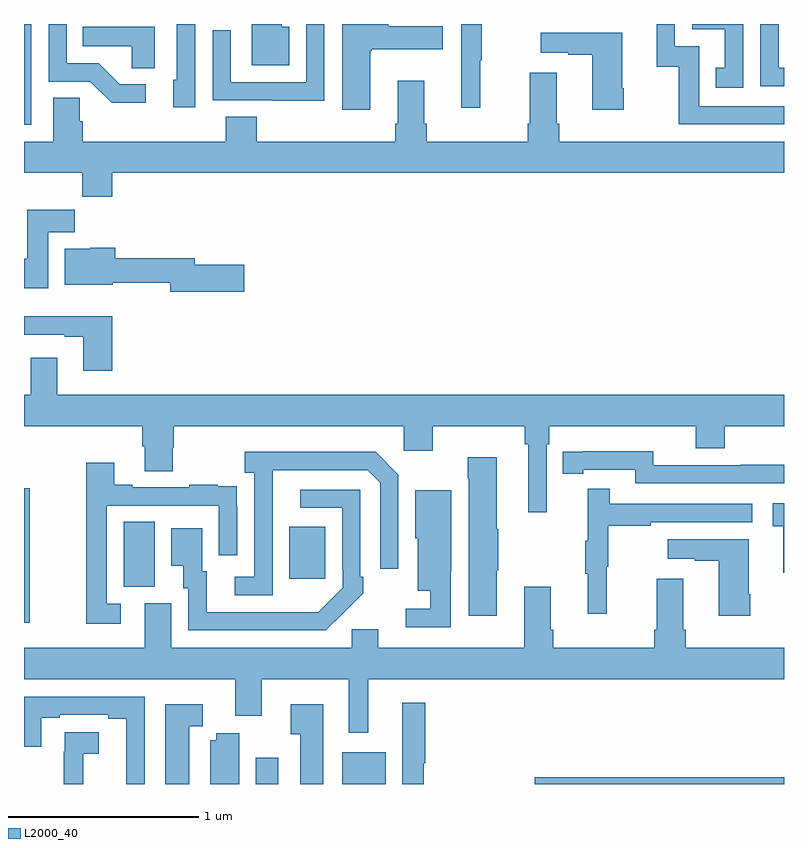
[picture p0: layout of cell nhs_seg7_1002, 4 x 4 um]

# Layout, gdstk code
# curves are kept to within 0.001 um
import gdstk
lib = gdstk.Library(unit=1e-6, precision=1e-09)
def R(c, l, rs):  # rectangles x0, y0, x1, y1
    for r in rs: c.add(gdstk.rectangle(r[:2], r[2:], *l))
def P(c, l, *ps):  # polygons
    for p in ps: c.add(gdstk.Polygon(p, *l))
L2000_40 = (2000, 40)

nhs_seg7_1002 = lib.new_cell('nhs_seg7_1002')
R(nhs_seg7_1002, L2000_40, [(184.221,1064,184.338,1064.137), (184.676,1064,184.903,1064.167), (185.687,1064,187,1064.036), (183,1064.849,183.03,1065.556), (183.524,1065.037,183.688,1065.38), (184.397,1065.081,184.585,1065.355), (183,1067.469,183.039,1068)])
P(nhs_seg7_1002, L2000_40, [(184.822,1067.86),(184.83,1067.86),(184.83,1067.867),(185.203,1067.867),(185.203,1067.989),(184.918,1067.989),(184.918,1068),(184.676,1068),(184.676,1067.55),(184.822,1067.55)],
  [(183.9,1068),(183.804,1068),(183.804,1067.706),(183.785,1067.706),(183.785,1067.562),(183.9,1067.562)],
  [(186.786,1068),(186.516,1068),(186.516,1067.973),(186.689,1067.973),(186.689,1067.769),(186.64,1067.769),(186.64,1067.664),(186.786,1067.664)],
  [(183.64,1067.682),(183.505,1067.682),(183.394,1067.793),(183.225,1067.793),(183.225,1068),(183.129,1068),(183.129,1067.697),(183.348,1067.697),(183.461,1067.585),(183.64,1067.585)],
  [(185.402,1067.808),(185.41,1067.808),(185.41,1068),(185.301,1068),(185.301,1067.771),(185.3,1067.771),(185.3,1067.559),(185.402,1067.559)],
  [(187,1067.568),(186.555,1067.568),(186.555,1067.883),(186.426,1067.883),(186.426,1068),(186.329,1068),(186.329,1067.775),(186.447,1067.775),(186.447,1067.472),(187,1067.472)],
  [(187,1067.77),(186.972,1067.77),(186.972,1068),(186.876,1068),(186.876,1067.673),(187,1067.673)],
  [(184.396,1067.986),(184.357,1067.986),(184.357,1068),(184.199,1068),(184.199,1067.783),(184.396,1067.783)],
  [(184.581,1068),(184.485,1068),(184.485,1067.694),(184.089,1067.694),(184.089,1067.968),(183.993,1067.968),(183.993,1067.598),(184.309,1067.598),(184.309,1067.597),(184.581,1067.597)],
  [(183.688,1067.986),(183.31,1067.986),(183.31,1067.882),(183.567,1067.882),(183.567,1067.767),(183.688,1067.767)],
  [(186.156,1067.662),(186.148,1067.662),(186.148,1067.953),(185.721,1067.953),(185.721,1067.849),(185.864,1067.849),(185.864,1067.839),(185.99,1067.839),(185.99,1067.55),(186.156,1067.55)],
  [(183.464,1067.216),(187,1067.216),(187,1067.38),(185.816,1067.38),(185.816,1067.476),(185.803,1067.476),(185.803,1067.743),(185.663,1067.743),(185.663,1067.476),(185.651,1067.476),(185.651,1067.38),(185.12,1067.38),(185.12,1067.476),(185.107,1067.476),(185.107,1067.701),(184.967,1067.701),(184.967,1067.476),(184.955,1067.476),(184.955,1067.38),(184.226,1067.38),(184.226,1067.513),(184.061,1067.513),(184.061,1067.38),(183.308,1067.38),(183.308,1067.489),(183.294,1067.489),(183.294,1067.612),(183.155,1067.612),(183.155,1067.38),(183,1067.38),(183,1067.216),(183.307,1067.216),(183.307,1067.092),(183.464,1067.092)],
  [(183.127,1066.904),(183.266,1066.904),(183.266,1067.023),(183.017,1067.023),(183.017,1066.764),(183,1066.764),(183,1066.608),(183.127,1066.608)],
  [(184.159,1066.734),(183.898,1066.734),(183.898,1066.768),(183.479,1066.768),(183.479,1066.822),(183.348,1066.822),(183.348,1066.816),(183.215,1066.816),(183.215,1066.628),(183.466,1066.628),(183.466,1066.639),(183.77,1066.639),(183.77,1066.592),(184.159,1066.592)],
  [(183.464,1066.462),(183,1066.462),(183,1066.365),(183.215,1066.365),(183.215,1066.353),(183.311,1066.353),(183.311,1066.176),(183.464,1066.176)],
  [(185.751,1065.788),(185.765,1065.788),(185.765,1065.884),(186.536,1065.884),(186.536,1065.767),(186.689,1065.767),(186.689,1065.884),(187,1065.884),(187,1066.048),(183.175,1066.048),(183.175,1066.243),(183.035,1066.243),(183.035,1066.048),(183,1066.048),(183,1065.884),(183.623,1065.884),(183.623,1065.778),(183.635,1065.778),(183.635,1065.646),(183.783,1065.646),(183.783,1065.771),(183.788,1065.771),(183.788,1065.884),(184.998,1065.884),(184.998,1065.753),(185.15,1065.753),(185.15,1065.884),(185.635,1065.884),(185.635,1065.788),(185.654,1065.788),(185.654,1065.429),(185.751,1065.429)],
  [(187,1065.68),(186.772,1065.68),(186.772,1065.678),(186.312,1065.678),(186.312,1065.751),(185.944,1065.751),(185.944,1065.75),(185.836,1065.75),(185.836,1065.634),(185.944,1065.634),(185.944,1065.654),(186.216,1065.654),(186.216,1065.582),(187,1065.582)],
  [(184.308,1065.451),(184.309,1065.651),(184.809,1065.651),(184.875,1065.585),(184.875,1065.132),(184.971,1065.132),(184.971,1065.627),(184.85,1065.748),(184.161,1065.748),(184.161,1065.638),(184.212,1065.638),(184.212,1065.09),(184.11,1065.09),(184.11,1064.994),(184.308,1064.994)],
  [(185.488,1065.124),(185.496,1065.124),(185.496,1065.341),(185.488,1065.341),(185.488,1065.721),(185.335,1065.721),(185.335,1065.608),(185.342,1065.608),(185.342,1064.886),(185.488,1064.886)],
  [(183.508,1064.949),(183.435,1064.949),(183.435,1065.465),(184.026,1065.465),(184.026,1065.204),(184.122,1065.204),(184.122,1065.458),(184.121,1065.458),(184.121,1065.567),(184.019,1065.567),(184.019,1065.574),(183.871,1065.574),(183.871,1065.561),(183.571,1065.561),(183.571,1065.574),(183.475,1065.574),(183.475,1065.691),(183.327,1065.691),(183.327,1064.844),(183.508,1064.844)],
  [(186.068,1065.144),(186.076,1065.144),(186.076,1065.358),(186.299,1065.358),(186.299,1065.378),(186.832,1065.378),(186.832,1065.474),(186.083,1065.474),(186.083,1065.553),(185.966,1065.553),(185.966,1065.281),(185.955,1065.281),(185.955,1065.107),(185.966,1065.107),(185.966,1064.895),(186.068,1064.895)],
  [(184.679,1064.899),(184.68,1064.898),(184.785,1065.003),(184.785,1065.091),(184.77,1065.091),(184.77,1065.549),(184.455,1065.549),(184.455,1065.453),(184.674,1065.453),(184.674,1065.133),(184.677,1065.133),(184.677,1065.033),(184.549,1064.905),(183.961,1064.904),(183.961,1065.12),(183.937,1065.12),(183.937,1065.346),(183.776,1065.346),(183.776,1065.149),(183.839,1065.149),(183.839,1065.03),(183.864,1065.03),(183.864,1064.808),(184.588,1064.808)],
  [(185.247,1065.121),(185.248,1065.121),(185.248,1065.547),(185.06,1065.547),(185.06,1065.294),(185.072,1065.294),(185.072,1065.017),(185.139,1065.017),(185.139,1064.922),(185.01,1064.922),(185.01,1064.826),(185.247,1064.826)],
  [(187,1065.478),(186.942,1065.478),(186.942,1065.357),(186.995,1065.357),(186.995,1065.111),(187,1065.111)],
  [(186.822,1064.998),(186.814,1064.998),(186.814,1065.289),(186.387,1065.289),(186.387,1065.185),(186.53,1065.185),(186.53,1065.175),(186.656,1065.175),(186.656,1064.886),(186.822,1064.886)],
  [(184.813,1064.552),(187,1064.552),(187,1064.716),(186.482,1064.716),(186.482,1064.812),(186.469,1064.812),(186.469,1065.079),(186.329,1065.079),(186.329,1064.812),(186.317,1064.812),(186.317,1064.716),(185.786,1064.716),(185.786,1064.812),(185.773,1064.812),(185.773,1065.037),(185.633,1065.037),(185.633,1064.716),(184.864,1064.716),(184.864,1064.814),(184.725,1064.814),(184.725,1064.716),(183.775,1064.716),(183.775,1064.952),(183.635,1064.952),(183.635,1064.716),(183,1064.716),(183,1064.552),(184.112,1064.552),(184.112,1064.358),(184.252,1064.358),(184.252,1064.552),(184.709,1064.552),(184.709,1064.271),(184.813,1064.271)],
  [(183.636,1064.46),(183,1064.46),(183,1064.197),(183.09,1064.197),(183.09,1064.35),(183.187,1064.35),(183.187,1064.364),(183.443,1064.364),(183.443,1064.344),(183.539,1064.344),(183.539,1064.081),(183.538,1064.081),(183.538,1064),(183.636,1064)],
  [(185.105,1064.109),(185.113,1064.109),(185.113,1064.428),(184.991,1064.428),(184.991,1064),(185.105,1064)],
  [(183.871,1064.304),(183.94,1064.304),(183.94,1064.419),(183.743,1064.419),(183.743,1064),(183.871,1064)],
  [(184.576,1064.419),(184.404,1064.419),(184.404,1064.263),(184.454,1064.263),(184.454,1064),(184.576,1064)],
  [(183.312,1064.158),(183.394,1064.158),(183.394,1064.273),(183.214,1064.273),(183.214,1064.171),(183.208,1064.171),(183.208,1064),(183.312,1064)],
  [(184.132,1064.267),(184.012,1064.267),(184.012,1064.23),(183.98,1064.23),(183.98,1064),(184.132,1064)])

lib.write_gds('nhs_seg7_1002.gds')
